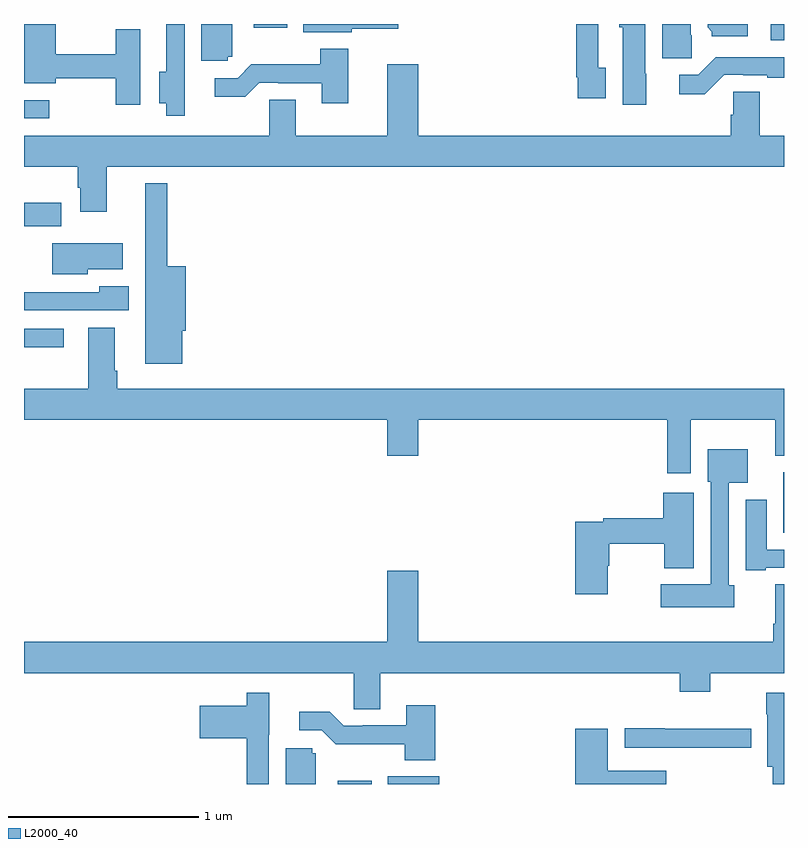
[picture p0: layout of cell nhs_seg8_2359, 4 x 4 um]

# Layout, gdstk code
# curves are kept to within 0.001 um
import gdstk
lib = gdstk.Library(unit=1e-6, precision=1e-09)
def R(c, l, rs):  # rectangles x0, y0, x1, y1
    for r in rs: c.add(gdstk.rectangle(r[:2], r[2:], *l))
def P(c, l, *ps):  # polygons
    for p in ps: c.add(gdstk.Polygon(p, *l))
L2000_40 = (2000, 40)

nhs_seg8_2359 = lib.new_cell('nhs_seg8_2359')
R(nhs_seg8_2359, L2000_40, [(260.652,1131.9,260.829,1131.916), (260.914,1131.9,261.185,1131.94), (262.997,1133.222,263,1133.542), (259,1134.199,259.21,1134.297), (259,1134.836,259.195,1134.958), (259,1135.404,259.132,1135.5), (262.931,1135.814,263,1135.9), (260.208,1135.88,260.385,1135.9)])
P(nhs_seg8_2359, L2000_40, [(260.724,1135.874),(260.971,1135.874),(260.971,1135.9),(260.47,1135.9),(260.47,1135.856),(260.724,1135.856)],
  [(260.073,1135.728),(260.095,1135.728),(260.095,1135.9),(259.934,1135.9),(259.934,1135.707),(260.073,1135.707)],
  [(262.81,1135.9),(262.598,1135.9),(262.598,1135.882),(262.62,1135.86),(262.62,1135.835),(262.81,1135.835)],
  [(262.514,1135.842),(262.51,1135.842),(262.51,1135.9),(262.358,1135.9),(262.358,1135.719),(262.514,1135.719)],
  [(262.276,1135.638),(262.27,1135.638),(262.27,1135.9),(262.133,1135.9),(262.133,1135.884),(262.151,1135.884),(262.151,1135.476),(262.276,1135.476)],
  [(259.612,1135.873),(259.483,1135.873),(259.483,1135.742),(259.168,1135.742),(259.168,1135.9),(259.001,1135.9),(259.001,1135.589),(259.168,1135.589),(259.168,1135.614),(259.483,1135.614),(259.483,1135.476),(259.612,1135.476)],
  [(259.846,1135.638),(259.845,1135.638),(259.845,1135.9),(259.748,1135.9),(259.748,1135.65),(259.712,1135.65),(259.712,1135.484),(259.748,1135.484),(259.748,1135.416),(259.846,1135.416)],
  [(262.063,1135.67),(262.023,1135.67),(262.023,1135.9),(261.907,1135.9),(261.907,1135.621),(261.915,1135.621),(261.915,1135.509),(262.063,1135.509)],
  [(260.707,1135.771),(260.56,1135.771),(260.56,1135.687),(260.197,1135.687),(260.124,1135.614),(260.004,1135.614),(260.004,1135.517),(260.165,1135.517),(260.238,1135.59),(260.338,1135.59),(260.338,1135.587),(260.567,1135.587),(260.567,1135.482),(260.707,1135.482)],
  [(262.686,1135.632),(262.786,1135.632),(262.786,1135.629),(262.913,1135.629),(262.913,1135.617),(263,1135.617),(263,1135.725),(262.642,1135.726),(262.548,1135.632),(262.449,1135.632),(262.449,1135.53),(262.584,1135.53)],
  [(259.435,1135.148),(263,1135.148),(263,1135.312),(262.873,1135.312),(262.873,1135.544),(262.734,1135.544),(262.734,1135.422),(262.721,1135.422),(262.721,1135.312),(261.076,1135.312),(261.076,1135.687),(260.912,1135.687),(260.912,1135.312),(260.431,1135.312),(260.431,1135.502),(260.292,1135.502),(260.292,1135.312),(259,1135.312),(259,1135.148),(259.283,1135.148),(259.283,1135.038),(259.295,1135.038),(259.295,1134.912),(259.435,1134.912)],
  [(259.834,1134.285),(259.852,1134.285),(259.852,1134.625),(259.754,1134.625),(259.754,1135.063),(259.637,1135.063),(259.637,1134.841),(259.638,1134.841),(259.638,1134.516),(259.637,1134.516),(259.637,1134.113),(259.834,1134.113)],
  [(259.335,1134.608),(259.519,1134.608),(259.519,1134.745),(259.149,1134.745),(259.149,1134.584),(259.335,1134.584)],
  [(259.552,1134.52),(259.397,1134.52),(259.397,1134.489),(259,1134.489),(259,1134.393),(259.552,1134.393)],
  [(262.51,1133.816),(262.955,1133.816),(262.955,1133.627),(263,1133.627),(263,1133.98),(259.49,1133.98),(259.49,1134.076),(259.477,1134.076),(259.477,1134.301),(259.337,1134.301),(259.337,1133.98),(259,1133.98),(259,1133.816),(260.912,1133.816),(260.912,1133.628),(261.076,1133.628),(261.076,1133.816),(262.385,1133.816),(262.385,1133.535),(262.51,1133.535)],
  [(262.738,1132.947),(262.71,1132.947),(262.71,1133.486),(262.81,1133.486),(262.81,1133.662),(262.598,1133.662),(262.598,1133.49),(262.614,1133.49),(262.614,1132.951),(262.35,1132.951),(262.35,1132.829),(262.738,1132.829)],
  [(262.072,1133.049),(262.08,1133.049),(262.08,1133.164),(262.369,1133.164),(262.369,1133.036),(262.525,1133.036),(262.525,1133.434),(262.364,1133.434),(262.364,1133.3),(262.048,1133.3),(262.048,1133.28),(261.902,1133.28),(261.902,1132.899),(262.072,1132.899)],
  [(262.903,1133.037),(263,1133.037),(263,1133.133),(262.909,1133.133),(262.909,1133.395),(262.799,1133.395),(262.799,1133.025),(262.903,1133.025)],
  [(260.875,1132.484),(262.451,1132.484),(262.451,1132.385),(262.611,1132.385),(262.611,1132.484),(263,1132.484),(263,1132.952),(262.955,1132.952),(262.955,1132.744),(262.943,1132.744),(262.943,1132.648),(261.076,1132.648),(261.076,1133.023),(260.912,1133.023),(260.912,1132.648),(259,1132.648),(259,1132.484),(260.736,1132.484),(260.736,1132.294),(260.875,1132.294)],
  [(263,1132.381),(262.906,1132.381),(262.906,1132.268),(262.913,1132.268),(262.913,1131.992),(262.942,1131.992),(262.942,1131.9),(263,1131.9)],
  [(260.289,1132.158),(260.29,1132.158),(260.29,1132.381),(260.173,1132.381),(260.173,1132.312),(259.926,1132.312),(259.926,1132.142),(260.173,1132.142),(260.173,1131.9),(260.289,1131.9)],
  [(261.164,1132.315),(261.011,1132.315),(261.011,1132.209),(260.782,1132.209),(260.782,1132.206),(260.682,1132.206),(260.609,1132.279),(260.448,1132.279),(260.448,1132.182),(260.568,1132.182),(260.641,1132.109),(261.004,1132.11),(261.004,1132.025),(261.164,1132.025)],
  [(262.828,1132.19),(262.373,1132.19),(262.373,1132.193),(262.161,1132.193),(262.161,1132.092),(262.477,1132.092),(262.477,1132.09),(262.828,1132.09)],
  [(262.381,1131.97),(262.072,1131.97),(262.072,1132.192),(261.902,1132.192),(261.902,1131.9),(262.381,1131.9)],
  [(260.536,1132.062),(260.517,1132.062),(260.517,1132.089),(260.378,1132.089),(260.378,1131.9),(260.536,1131.9)])

lib.write_gds('nhs_seg8_2359.gds')
